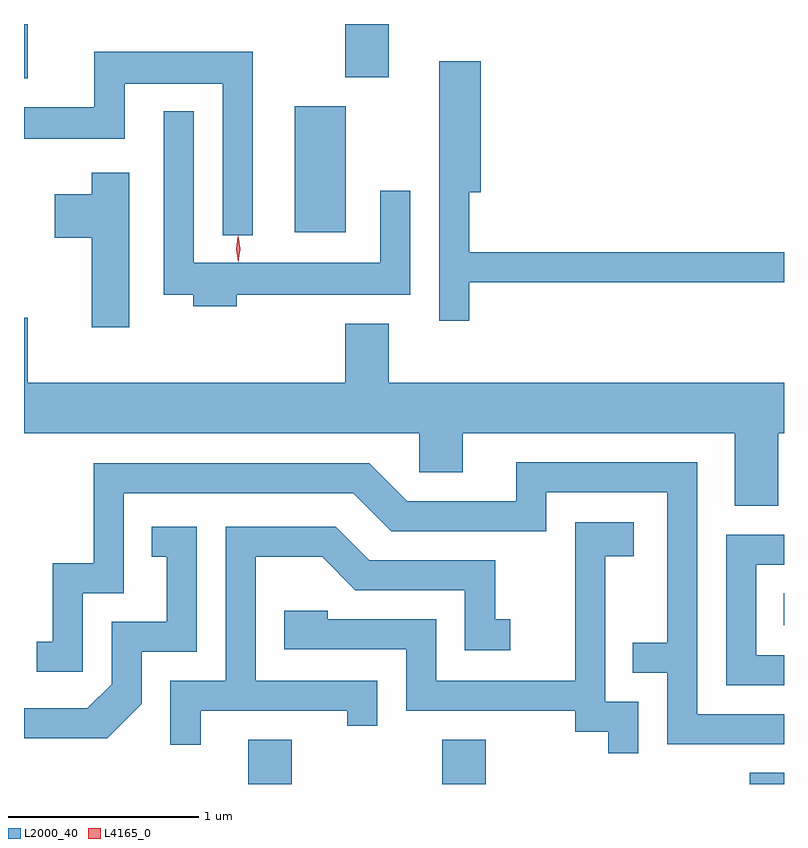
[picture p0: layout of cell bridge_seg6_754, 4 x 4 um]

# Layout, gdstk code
import gdstk
lib = gdstk.Library(unit=1e-6, precision=1e-09)
def R(c, l, rs):  # rectangles x0, y0, x1, y1
    for r in rs: c.add(gdstk.rectangle(r[:2], r[2:], *l))
def P(c, l, *ps):  # polygons
    for p in ps: c.add(gdstk.Polygon(p, *l))
L2000_40 = (2000, 40)
L4165_0 = (4165, 0)

bridge_seg6_754 = lib.new_cell('bridge_seg6_754')
R(bridge_seg6_754, L2000_40, [(500.651,1590.371,500.879,1590.604), (501.671,1590.371,501.899,1590.604), (503.291,1590.371,503.47,1590.429), (503.468,1591.206,503.47,1591.374), (500.896,1593.276,501.164,1593.939), (499.47,1594.086,499.489,1594.371), (501.161,1594.091,501.389,1594.371)])
P(bridge_seg6_754, L2000_40, [(500.674,1594.224),(499.841,1594.224),(499.841,1593.934),(499.47,1593.934),(499.47,1593.766),(499.999,1593.766),(499.999,1594.056),(500.516,1594.056),(500.516,1593.258),(500.674,1593.258)],
  [(501.814,1593.011),(503.47,1593.011),(503.47,1593.169),(501.814,1593.169),(501.814,1593.486),(501.874,1593.486),(501.874,1594.174),(501.656,1594.174),(501.656,1592.808),(501.814,1592.808)],
  [(500.589,1592.946),(501.504,1592.946),(501.504,1593.493),(501.346,1593.493),(501.346,1593.114),(500.364,1593.114),(500.364,1593.913),(500.206,1593.913),(500.206,1592.946),(500.361,1592.946),(500.361,1592.886),(500.589,1592.886)],
  [(500.024,1593.589),(499.826,1593.589),(499.826,1593.474),(499.631,1593.474),(499.631,1593.246),(499.826,1593.246),(499.826,1592.776),(500.024,1592.776)],
  [(503.439,1592.216),(503.47,1592.216),(503.47,1592.484),(501.389,1592.484),(501.389,1592.794),(501.161,1592.794),(501.161,1592.484),(499.489,1592.484),(499.489,1592.824),(499.47,1592.824),(499.47,1592.216),(501.551,1592.216),(501.551,1592.011),(501.779,1592.011),(501.779,1592.216),(503.211,1592.216),(503.211,1591.836),(503.439,1591.836)],
  [(503.47,1590.739),(503.014,1590.739),(503.014,1592.064),(502.061,1592.064),(502.061,1591.859),(501.487,1591.859),(501.287,1592.059),(499.836,1592.059),(499.836,1591.534),(499.621,1591.534),(499.621,1591.119),(499.538,1591.119),(499.538,1590.961),(499.779,1590.961),(499.779,1591.376),(499.994,1591.376),(499.994,1591.901),(501.204,1591.901),(501.404,1591.701),(502.219,1591.701),(502.219,1591.906),(502.856,1591.906),(502.856,1591.114),(502.673,1591.114),(502.673,1590.956),(502.856,1590.956),(502.856,1590.581),(503.47,1590.581)],
  [(502.704,1590.804),(502.529,1590.804),(502.529,1591.571),(502.679,1591.571),(502.679,1591.749),(502.371,1591.749),(502.371,1590.914),(501.639,1590.914),(501.639,1591.239),(501.069,1591.239),(501.069,1591.284),(500.841,1591.284),(500.841,1591.081),(501.481,1591.081),(501.481,1590.756),(502.371,1590.756),(502.371,1590.646),(502.546,1590.646),(502.546,1590.533),(502.704,1590.533)],
  [(500.089,1590.794),(500.089,1591.066),(500.379,1591.066),(500.379,1591.724),(500.143,1591.724),(500.143,1591.566),(500.221,1591.566),(500.221,1591.224),(499.931,1591.224),(499.931,1590.897),(499.804,1590.769),(499.47,1590.769),(499.47,1590.611),(499.907,1590.611)],
  [(500.399,1590.756),(501.171,1590.756),(501.171,1590.678),(501.329,1590.678),(501.329,1590.914),(500.689,1590.914),(500.689,1591.566),(501.039,1591.566),(501.214,1591.391),(501.791,1591.391),(501.791,1591.076),(502.028,1591.076),(502.028,1591.239),(501.949,1591.239),(501.949,1591.549),(501.287,1591.549),(501.112,1591.724),(500.531,1591.724),(500.531,1590.914),(500.241,1590.914),(500.241,1590.578),(500.399,1590.578)],
  [(503.47,1591.049),(503.324,1591.049),(503.324,1591.526),(503.47,1591.526),(503.47,1591.684),(503.166,1591.684),(503.166,1590.891),(503.47,1590.891)])
P(bridge_seg6_754, L4165_0, [(500.597,1593.117),(500.597,1593.117),(500.587,1593.187),(500.597,1593.256),(500.597,1593.256),(500.598,1593.256),(500.607,1593.187),(500.598,1593.117)],
  [(500.597,1593.119),(500.597,1593.12),(500.587,1593.186),(500.596,1593.252),(500.597,1593.253),(500.597,1593.252),(500.607,1593.186),(500.598,1593.12)])

lib.write_gds('bridge_seg6_754.gds')
